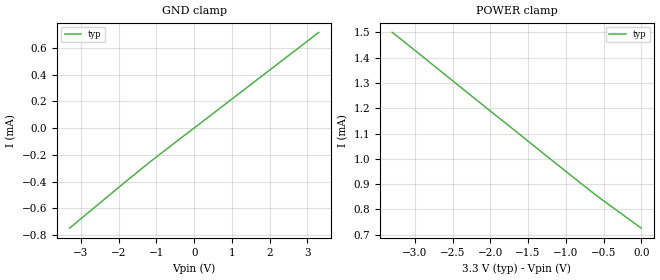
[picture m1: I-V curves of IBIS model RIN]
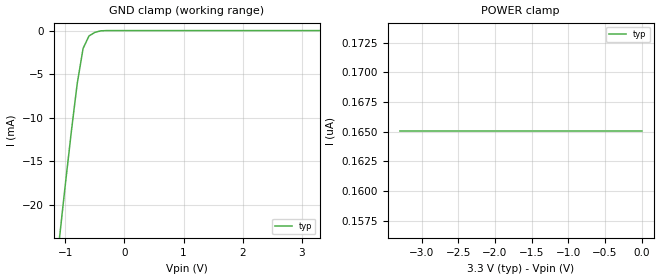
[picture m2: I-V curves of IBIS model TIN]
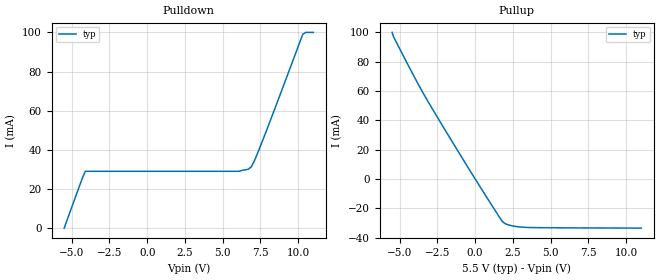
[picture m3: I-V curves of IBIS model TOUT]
|IBIS file max3232e.ibs created at Maxim Integrated Products
[IBIS ver]   3.2
[File name]   max3232e.ibs
[File Rev]   1.0
[Date]   September 01, 2005
[Source]   Data was acquired from bench measurements.
[Notes]   This is an EIA-TIA RS232 transceiver with external capacitors.
[Disclaimer] Maxim Integrated Products hereby grants the user of this
                 IBIS model a non-exclusive, nontransferable license to use
                 this IBIS model under the following terms. Before using
                 this IBIS model, the user should read this license. If the
                 user does not accept these terms, the IBIS model should be
                 returned to Maxim Integrated Products within 30 days.
                 The user is granted this license only to use the IBIS model
                 and is not granted rights to sell, load, rent, lease or
                 license the IBIS model in whole or in part, or in modified
                 form to anyone other than user. User may modify the IBIS
                 model to suit its specific applications but rights to
                 derivative works and such modifications shall belong to
                 Maxim Integrated Products. This IBIS model is provided on
                 an "AS IS" basis and Maxim Integrated Products makes
                 absolutely no warranty with respect to the information
                 contained herein.MAXIM INTEGRATED PRODUCTS DISCLAIMS AND
                 CUSTOMER WAIVES ALL WARRANTIES, EXPRESS OR IMPLIED,
                 INCLUDING WARRANTIES OF MERCHANTABILITY OR FITNESS FOR A
                 PARTICULAR PURPOSE. The entire risk as to quality and
                 performance is with the Customer. ACCORDINGLY, IN NO EVENT
                 SHALL THE COMPANY BE LIABLE FOR ANY DAMAGES, WHETHER IN
                 CONTRACT OR TORT,INCLUDING ANY LOST PROFITS OR OTHER
                 INCIDENTAL, CONSEQUENTIAL, EXEMPLARY, OR PUNITIVE DAMAGES
                 ARISING OUT OF THE USE OR APPLICATION OF THE IBIS model
                 provided in this package.Further, Maxim Integrated Products
                 reserves the right to make changes without notice to any
                 product herein to improve reliability, function, or design.
                 Maxim Integrated Products does not convey any license under
                 patent rights or any other intellectual property rights,
                 including those of third parties.
                 Maxim Integrated Products is not obligated to provide
                 maintenance or support for the licensed IBIS model.
[Copyright]   Copyright of Maxim Integrated Products.
|   Component MAX3232E
[Component]   MAX3232E
[Manufacturer]   Maxim Integrated Products
[Package]
| variable   typ   min   max
R_pkg   72.985E-03   NA   NA
L_pkg   2.113E-09   NA   NA
C_pkg   0.287E-12   NA   NA
[Pin]  signal_name   model_name   R_pin   L_pin   C_pin
1   N.C.   NC
2   C1+   NC
3   V+   NC
4   C1-   NC
5   C2+   NC
6   C2-   NC
7   V-   NC
8   T2OUT   TOUT
9   R2IN   RIN
10   N.C.   NC
11   N.C.   NC
12   R2OUT   ROUT
13   T2IN   TIN
14   T1IN   TIN
15   R1OUT   ROUT
16   R1IN   RIN
17   T1OUT   TOUT
18   GND   GND
19   VCC   POWER
20   N.C.   NC
| Models and submodels in the file (4): RIN (Input), TIN (Input), TOUT (Output), ROUT (Output)
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|   Transceiver Receiver Input
[Model]   RIN
|Signals   R2IN, R1IN
Model_type   Input
Enable   Active-High
Vinl = 1.1V
Vinh = 1.5V
C_comp   6.90pF   NA   NA
[Temperature Range]   25   0   70
[Voltage Range]   3.30V   3.00V   3.60V
[POWER Clamp Reference]   3.30V   3.00V   3.60V
[GND Clamp Reference]   0.00V   0.00V   0.00V
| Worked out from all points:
|   POWER clamp passes 1 mA (typ) near -1.21 V on its own axis
[POWER_clamp]
| Note that the[POWER_clamp]voltage table is referenced to Vcc
| and is calculated using Vtable=Vcc - Vmeasured.
| V(V)  I(typ)   I(min)  I(max)
-3.3V     1.5mA      NA         NA
-700mV    879.7uA    NA         NA
-500mV    834.2uA    NA         NA
0V        726uA      NA         NA
[GND_clamp]
| Note that the[GND_clamp]voltage table is referenced to Gnd.
| V(V)  I(typ)   I(min)  I(max)
-3.3V     -747.6uA   NA         NA
-1.9V     -419.8uA   NA         NA
-1.1V     -237.2uA   NA         NA
3.3V      715.5uA    NA         NA
|   Transceiver Transmitter Input
[Model]   TIN
|Signals   T2IN, T1IN
Model_type   Input
Enable   Active-High
Vinl = 0.8V
Vinh = 2.0V
C_comp   4.00pF   NA   NA
[Temperature Range]   25   0   70
[Voltage Range]   3.30V   3.00V   3.60V
[POWER Clamp Reference]   3.30V   3.00V   3.60V
[GND Clamp Reference]   0.00V   0.00V   0.00V
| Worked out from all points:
|   GND clamp passes 1 mA (typ) near -0.63 V on its own axis
[POWER_clamp]
| Note that the[POWER_clamp]voltage table is referenced to Vcc
| and is calculated using Vtable=Vcc - Vmeasured.
| Also, the test setup clamps the supply current to 100mA to
| protect the system.
| V(V)  I(typ)   I(min)  I(max)
-3.3V     165.1nA    NA         NA
-3.2V     165.1nA    NA         NA
-3.1V     165.1nA    NA         NA
0V        165.1nA    NA         NA
[GND_clamp]
| Note that the[GND_clamp]voltage table is referenced to Gnd.
| Also, the test setup clamps the supply current to 100mA to
| protect the system.
| V(V)  I(typ)   I(min)  I(max)
-3.3V     -100mA     NA         NA
-1.1V     -23.82mA   NA         NA
-1V       -17.63mA   NA         NA
-900mV    -11.64mA   NA         NA
-800mV    -6.1mA     NA         NA
-700mV    -2.041mA   NA         NA
-600mV    -617.5uA   NA         NA
-500mV    -202.8uA   NA         NA
-400mV    -30.61uA   NA         NA
-300mV    -1.244uA   NA         NA
3.3V      120.8nA    NA         NA
|   Transceiver Transmitter Output
[Model]   TOUT
|Signals   T2OUT, T1OUT
Model_type   Output
Polarity   Inverting
Vmeas = 0V
C_comp   12.60pF   NA   NA
[Temperature Range]   25   0   70
[Voltage Range]   3.30V   3.00V   3.60V
[Pullup Reference]   5.50V   5.35V   5.75V
[Pulldown Reference]   0.00V   0.00V   0.00V
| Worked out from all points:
|   slope of the pullup table from 0 to 0.825 V, typ, clamps not added: 61.2 ohm
[Pullup]
| Note that the[Pullup]voltage table is referenced to Vcc
| and is calculated using Vtable=Vcc - Vmeasured.
| Also, the test setup clamps the supply current to 100mA to
| protect the system.
|V(V)   I(typ)   I(min)  I(max)
-5.5V     100mA      NA         NA
-5.4V     96.92mA    NA         NA
-4.6V     80.87mA    NA         NA
-3.2V     54.19mA    NA         NA
-400mV    6.596mA    NA         NA
1.8V      -29.05mA   NA         NA
2V        -30.64mA   NA         NA
2.4V      -31.88mA   NA         NA
3.4V      -33.09mA   NA         NA
11V       -33.58mA   NA         NA
[Pulldown]
| Note that the[Pulldown]voltage table is referenced to Gnd.
| Also, the test setup clamps the supply current to 100mA to
| protect the system.
|V(V)   I(typ)   I(min)  I(max)
-5.5V     -43.05uA   NA         NA
-4.3V     25.39mA    NA         NA
-4.1V     29mA       NA         NA
6.1V      29mA       NA         NA
6.7V      30.08mA    NA         NA
6.9V      31.4mA     NA         NA
7.3V      38.13mA    NA         NA
8.3V      57.96mA    NA         NA
10.3V     99.04mA    NA         NA
10.5V     100mA      NA         NA
11V       100mA      NA         NA
[Ramp]
| variable   typ   min   max
dV/dt_r   6.6/684.70E-09   NA   NA
dV/dt_f   6.6/551.10E-09   NA   NA
R_load = 3KOhms
|End [Model] TOUT
